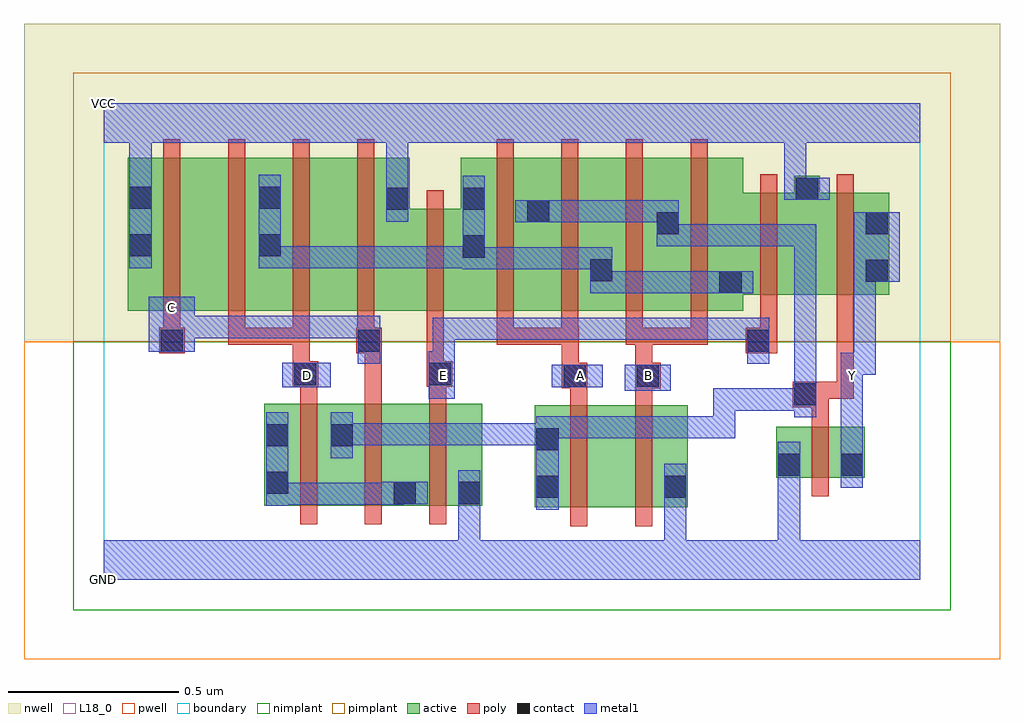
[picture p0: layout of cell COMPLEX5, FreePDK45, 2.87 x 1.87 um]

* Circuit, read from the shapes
.subckt COMPLEX5 A B C D E GND VCC Y
M1 n1 D n2 VSUBS nfet w=0.3u l=0.05u
M2 n2 C n1 VSUBS nfet w=0.3u l=0.05u
M3 GND E n2 VSUBS nfet w=0.3u l=0.05u
M4 n3 A n1 VSUBS nfet w=0.3u l=0.05u
M5 GND B n3 VSUBS nfet w=0.3u l=0.05u
M6 Y n1 GND VSUBS nfet w=0.15u l=0.05u
M7 n4 C VCC n5 pfet w=0.45u l=0.05u
M8 n6 D n4 n5 pfet w=0.45u l=0.05u
M9 n7 D n6 n5 pfet w=0.45u l=0.05u
M10 VCC C n7 n5 pfet w=0.45u l=0.05u
M11 n6 E VCC n5 pfet w=0.3u l=0.05u m=2
M12 n1 A n6 n5 pfet w=0.45u l=0.05u m=2
M13 n1 B n6 n5 pfet w=0.45u l=0.05u m=2
M14 Y n1 VCC n5 pfet w=0.3u l=0.05u
.ends

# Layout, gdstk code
import gdstk
lib = gdstk.Library(unit=1e-6, precision=1e-09)
def R(c, l, rs):  # rectangles x0, y0, x1, y1
    for r in rs: c.add(gdstk.rectangle(r[:2], r[2:], *l))
def A(c, l, x, y, w, h, nx, ny, dx, dy):  # array of equal rectangles
    R(c, l, [(x+i*dx, y+j*dy, x+i*dx+w, y+j*dy+h) for i in range(nx) for j in range(ny)])
active = (1, 0)
pwell = (2, 0)
nwell = (3, 0)
nimplant = (4, 0)
pimplant = (5, 0)
poly = (9, 0)
contact = (10, 0)
metal1 = (11, 0)
L18_0 = (18, 0)
boundary = (235, 0)

complex5 = lib.new_cell('COMPLEX5')
R(complex5, active, [(1.267,0.212,1.492,0.512), (1.267,0.212,1.342,0.512), (1.492,0.212,1.717,0.512), (0.472,0.217,0.547,0.517), (0.472,0.217,0.737,0.517), (0.662,0.217,0.922,0.517), (0.847,0.217,1.112,0.517), (0.847,0.217,0.922,0.392), (1.037,0.217,1.112,0.517), (1.642,0.235,1.717,0.377), (1.977,0.3,2.052,0.45), (1.977,0.3,2.237,0.45), (2.162,0.3,2.237,0.45), (0.662,0.33,0.737,0.462), (0.07,0.79,0.295,1.24), (0.07,0.79,0.145,1.205), (0.295,0.79,0.525,1.24), (0.45,0.79,0.675,1.24), (0.675,0.79,0.9,1.24), (0.825,0.79,1.125,1.09), (1.05,0.79,1.315,1.24), (1.05,0.79,1.125,1.2), (1.24,0.79,1.5,1.24), (1.425,0.79,1.695,1.24), (1.62,0.79,1.88,1.24), (1.24,0.832,1.315,1.2), (1.62,0.832,1.695,1.2), (1.805,0.837,2.105,1.137), (1.805,0.837,1.88,1.07), (2.03,0.837,2.31,1.137), (2.235,0.837,2.31,1.085), (0.45,0.857,0.525,1.2), (1.425,0.857,1.5,1.07), (0.825,1.007,0.9,1.157), (2.03,1.007,2.105,1.187)])
R(complex5, pwell, [(-0.235,-0.235,2.635,0.7)])
R(complex5, nwell, [(-0.235,0.7,2.635,1.635)])
R(complex5, nimplant, [(-0.09,-0.09,2.49,0.7)])
R(complex5, pimplant, [(-0.09,0.7,2.49,1.49)])
A(complex5, poly, 0.577, 0.162, 0.05, 0.41, 3, 1, 0.19, 0)
A(complex5, poly, 0.175, 0.69, 0.05, 0.095, 4, 1, 0.19, 0)
A(complex5, poly, 1.155, 0.69, 0.05, 0.095, 4, 1, 0.19, 0)
A(complex5, poly, 0.175, 0.735, 0.05, 0.56, 4, 1, 0.19, 0)
A(complex5, poly, 1.155, 0.735, 0.05, 0.56, 4, 1, 0.19, 0)
R(complex5, poly, [(1.372,0.157,1.422,0.567), (1.562,0.157,1.612,0.567), (2.082,0.245,2.132,0.505), (2.082,0.455,2.132,0.557), (2.025,0.507,2.132,0.582), (1.372,0.517,1.422,0.612), (1.562,0.517,1.612,0.612), (0.577,0.522,0.627,0.617), (0.767,0.522,0.817,0.715), (0.957,0.522,1.007,0.617), (2.082,0.532,2.132,0.582), (2.082,0.532,2.205,0.582), (2.155,0.532,2.205,0.832), (1.347,0.562,1.422,0.637), (1.562,0.562,1.637,0.637), (0.555,0.567,0.63,0.642), (0.95,0.567,1.025,0.642), (0.957,0.567,1.007,0.617), (0.957,0.567,1.007,0.617), (1.347,0.587,1.397,0.74), (1.562,0.587,1.612,0.74), (0.555,0.592,0.605,0.74), (0.95,0.592,1,0.785), (0.162,0.665,0.237,0.74), (0.742,0.665,0.817,0.74), (0.767,0.665,0.817,0.715), (0.767,0.665,0.817,0.715), (1.887,0.665,1.98,0.74), (0.365,0.69,0.415,0.74), (0.365,0.69,0.605,0.74), (0.555,0.69,0.605,0.74), (0.555,0.69,0.605,0.74), (0.555,0.69,0.605,0.74), (1.155,0.69,1.205,0.74), (1.155,0.69,1.395,0.74), (1.345,0.69,1.395,0.74), (1.345,0.69,1.395,0.74), (1.345,0.69,1.397,0.74), (1.535,0.69,1.612,0.74), (1.562,0.69,1.612,0.74), (1.562,0.69,1.612,0.74), (1.562,0.69,1.775,0.74), (1.725,0.69,1.775,0.74), (1.93,0.69,1.98,0.832), (0.95,0.735,1,1.145), (1.93,0.782,1.98,1.192), (2.155,0.782,2.205,1.192)])
R(complex5, contact, [(0.852,0.222,0.917,0.287), (1.042,0.222,1.107,0.287), (1.272,0.24,1.337,0.305), (1.647,0.24,1.712,0.305), (0.477,0.252,0.542,0.317), (1.982,0.305,2.047,0.37), (2.167,0.305,2.232,0.37), (1.272,0.38,1.337,0.445), (0.477,0.392,0.542,0.457), (0.667,0.392,0.732,0.457), (2.03,0.512,2.095,0.577), (1.352,0.567,1.417,0.632), (1.567,0.567,1.632,0.632), (0.56,0.572,0.625,0.637), (0.955,0.572,1.02,0.637), (0.167,0.67,0.232,0.735), (0.747,0.67,0.812,0.735), (1.892,0.67,1.957,0.735), (1.81,0.842,1.875,0.907), (2.24,0.875,2.305,0.94), (1.43,0.877,1.495,0.942), (1.055,0.947,1.12,1.012), (0.075,0.95,0.14,1.015), (0.455,0.95,0.52,1.015), (1.625,1.015,1.69,1.08), (2.24,1.015,2.305,1.08), (1.245,1.05,1.31,1.115), (0.83,1.087,0.895,1.152), (1.055,1.087,1.12,1.152), (0.075,1.09,0.14,1.155), (0.455,1.09,0.52,1.155), (2.035,1.117,2.1,1.182)])
A(complex5, metal1, 0.667, 0.395, 0.065, 0.065, 3, 1, 0.15, 0)
R(complex5, metal1, [(0,0,2.4,0.115), (1.042,0.05,1.107,0.115), (1.042,0.05,1.107,0.115), (1.042,0.05,1.107,0.252), (1.647,0.05,1.712,0.27), (1.982,0.05,2.047,0.115), (1.982,0.05,2.047,0.115), (1.982,0.05,2.047,0.115), (1.982,0.05,2.047,0.115), (1.982,0.05,2.047,0.335), (1.042,0.187,1.107,0.322), (1.272,0.205,1.337,0.48), (1.647,0.205,1.712,0.27), (1.647,0.205,1.712,0.27), (1.647,0.205,1.712,0.34), (0.477,0.217,0.542,0.492), (0.477,0.22,0.542,0.285), (0.477,0.22,0.542,0.285), (0.477,0.22,0.745,0.285), (0.68,0.22,0.745,0.285), (0.68,0.22,0.882,0.285), (0.817,0.22,0.882,0.287), (0.817,0.222,0.882,0.287), (0.817,0.222,0.952,0.287), (1.982,0.27,2.047,0.405), (2.167,0.27,2.232,0.405), (2.167,0.34,2.232,0.597), (0.667,0.357,0.732,0.492), (0.667,0.395,0.732,0.46), (0.667,0.395,0.882,0.46), (0.817,0.395,1.032,0.46), (0.967,0.395,1.032,0.46), (0.967,0.395,1.032,0.46), (0.967,0.395,1.17,0.46), (1.105,0.395,1.17,0.46), (1.105,0.395,1.337,0.46), (1.272,0.415,1.337,0.48), (1.272,0.415,1.337,0.48), (1.272,0.415,1.552,0.48), (1.487,0.415,1.552,0.48), (1.487,0.415,1.552,0.48), (1.487,0.415,1.552,0.48), (1.487,0.415,1.702,0.48), (1.637,0.415,1.702,0.48), (1.637,0.415,1.702,0.48), (1.637,0.415,1.702,0.48), (1.637,0.415,1.857,0.48), (1.792,0.415,1.857,0.48), (1.792,0.415,1.857,0.562), (2.03,0.477,2.095,0.612), (1.792,0.497,1.857,0.562), (1.792,0.497,1.857,0.562), (1.792,0.497,1.857,0.562), (1.792,0.497,2.095,0.562), (2.03,0.497,2.095,0.562), (2.03,0.497,2.095,0.562), (2.03,0.497,2.095,0.562), (2.03,0.497,2.095,0.562), (2.03,0.497,2.095,1.045), (0.955,0.532,1.032,0.672), (2.167,0.532,2.232,0.667), (1.532,0.555,1.667,0.632), (0.525,0.565,0.667,0.637), (1.317,0.565,1.467,0.632), (2.167,0.602,2.232,0.667), (2.167,0.602,2.27,0.667), (2.205,0.602,2.27,0.94), (0.967,0.607,1.032,0.672), (0.967,0.607,1.032,0.77), (0.747,0.635,0.812,0.775), (1.892,0.635,1.957,0.77), (0.132,0.67,0.267,0.832), (0.967,0.705,1.17,0.77), (1.105,0.705,1.17,0.77), (1.105,0.705,1.307,0.77), (1.242,0.705,1.307,0.77), (1.242,0.705,1.307,0.77), (1.242,0.705,1.307,0.77), (1.242,0.705,1.552,0.77), (1.487,0.705,1.552,0.77), (1.487,0.705,1.552,0.77), (1.487,0.705,1.552,0.77), (1.487,0.705,1.69,0.77), (1.625,0.705,1.69,0.77), (1.625,0.705,1.69,0.77), (1.625,0.705,1.69,0.77), (1.625,0.705,1.91,0.77), (1.845,0.705,1.91,0.77), (1.845,0.705,1.957,0.77), (0.202,0.71,0.267,0.775), (0.202,0.71,0.267,0.775), (0.202,0.71,0.405,0.775), (0.34,0.71,0.405,0.775), (0.34,0.71,0.405,0.775), (0.34,0.71,0.405,0.775), (0.34,0.71,0.595,0.775), (0.53,0.71,0.595,0.775), (0.53,0.71,0.68,0.775), (0.615,0.71,0.68,0.775), (0.615,0.71,0.812,0.775), (1.43,0.842,1.495,0.907), (1.43,0.842,1.495,0.907), (1.43,0.842,1.495,0.977), (1.43,0.842,1.69,0.907), (1.625,0.842,1.69,0.907), (1.625,0.842,1.69,0.907), (1.625,0.842,1.69,0.907), (1.625,0.842,1.84,0.907), (1.775,0.842,1.91,0.907), (2.205,0.875,2.34,1.08), (1.055,0.912,1.12,1.187), (1.055,0.912,1.17,0.977), (1.105,0.912,1.17,0.977), (1.105,0.912,1.307,0.977), (1.242,0.912,1.307,0.977), (1.242,0.912,1.307,0.977), (1.242,0.912,1.307,0.977), (1.242,0.912,1.495,0.977), (0.075,0.915,0.14,1.19), (0.455,0.915,0.52,1.19), (0.455,0.915,0.542,0.98), (0.477,0.915,0.542,0.98), (0.477,0.915,0.745,0.98), (0.68,0.915,0.745,0.98), (0.68,0.915,0.745,0.98), (0.68,0.915,0.745,0.98), (0.68,0.915,0.895,0.98), (0.83,0.915,0.895,0.98), (0.83,0.915,1.02,0.98), (0.955,0.915,1.02,0.98), (0.955,0.915,1.12,0.98), (1.625,0.98,1.69,1.045), (1.625,0.98,1.69,1.045), (1.625,0.98,1.69,1.115), (1.625,0.98,1.91,1.045), (1.845,0.98,1.91,1.045), (1.845,0.98,1.91,1.045), (1.845,0.98,1.91,1.045), (1.845,0.98,2.095,1.045), (2.03,0.98,2.095,1.045), (2.03,0.98,2.095,1.045), (2.03,0.98,2.095,1.045), (1.21,1.05,1.345,1.115), (1.28,1.05,1.345,1.115), (1.28,1.05,1.345,1.115), (1.28,1.05,1.552,1.115), (1.487,1.05,1.552,1.115), (1.487,1.05,1.552,1.115), (1.487,1.05,1.552,1.115), (1.487,1.05,1.69,1.115), (0.83,1.052,0.895,1.187), (2,1.117,2.065,1.182), (2,1.117,2.065,1.182), (2,1.117,2.065,1.35), (2,1.117,2.135,1.182), (0.83,1.122,0.895,1.35), (0.075,1.125,0.14,1.35), (0,1.285,2.4,1.4)])
A(complex5, L18_0, 0.567, 0.567, 0.065, 0.065, 3, 1, 0.4, 0)
R(complex5, L18_0, [(0,0,2.4,0.115), (1.042,0.05,1.107,0.115), (1.042,0.05,1.107,0.115), (1.042,0.05,1.107,0.252), (1.647,0.05,1.712,0.27), (1.982,0.05,2.047,0.115), (1.982,0.05,2.047,0.115), (1.982,0.05,2.047,0.115), (1.982,0.05,2.047,0.115), (1.982,0.05,2.047,0.335), (1.042,0.187,1.107,0.322), (1.647,0.205,1.712,0.27), (1.647,0.205,1.712,0.27), (1.647,0.205,1.712,0.34), (1.982,0.27,2.047,0.405), (2.167,0.27,2.232,0.405), (2.167,0.34,2.232,0.597), (0.955,0.532,1.032,0.672), (2.167,0.532,2.232,0.667), (1.532,0.555,1.667,0.632), (0.525,0.565,0.667,0.637), (1.317,0.565,1.467,0.632), (1.567,0.567,1.632,0.632), (2.167,0.567,2.232,0.632), (2.167,0.602,2.232,0.667), (2.167,0.602,2.27,0.667), (2.205,0.602,2.27,0.94), (0.967,0.607,1.032,0.672), (0.967,0.607,1.032,0.77), (0.747,0.635,0.812,0.775), (1.892,0.635,1.957,0.77), (0.132,0.67,0.267,0.832), (0.967,0.705,1.17,0.77), (1.105,0.705,1.17,0.77), (1.105,0.705,1.307,0.77), (1.242,0.705,1.307,0.77), (1.242,0.705,1.307,0.77), (1.242,0.705,1.307,0.77), (1.242,0.705,1.552,0.77), (1.487,0.705,1.552,0.77), (1.487,0.705,1.552,0.77), (1.487,0.705,1.552,0.77), (1.487,0.705,1.69,0.77), (1.625,0.705,1.69,0.77), (1.625,0.705,1.69,0.77), (1.625,0.705,1.69,0.77), (1.625,0.705,1.91,0.77), (1.845,0.705,1.91,0.77), (1.845,0.705,1.957,0.77), (0.202,0.71,0.267,0.775), (0.202,0.71,0.267,0.775), (0.202,0.71,0.405,0.775), (0.34,0.71,0.405,0.775), (0.34,0.71,0.405,0.775), (0.34,0.71,0.405,0.775), (0.34,0.71,0.595,0.775), (0.53,0.71,0.595,0.775), (0.53,0.71,0.68,0.775), (0.615,0.71,0.68,0.775), (0.615,0.71,0.812,0.775), (0.167,0.767,0.232,0.832), (2.205,0.875,2.34,1.08), (0.075,0.915,0.14,1.19), (0.83,1.052,0.895,1.187), (2,1.117,2.065,1.182), (2,1.117,2.065,1.182), (2,1.117,2.135,1.182), (2,1.117,2.065,1.35), (0.83,1.122,0.895,1.35), (0.075,1.125,0.14,1.35), (0,1.285,2.4,1.4)])
R(complex5, boundary, [(0,0,2.4,1.4)])
complex5.add(gdstk.Label('A', (1.4,0.6), layer=11, texttype=0))
complex5.add(gdstk.Label('B', (1.6,0.6), layer=11, texttype=0))
complex5.add(gdstk.Label('C', (0.2,0.8), layer=11, texttype=0))
complex5.add(gdstk.Label('D', (0.6,0.6), layer=11, texttype=0))
complex5.add(gdstk.Label('E', (1,0.6), layer=11, texttype=0))
complex5.add(gdstk.Label('Y', (2.2,0.6), layer=11, texttype=0))
complex5.add(gdstk.Label('VCC', (0,1.4), layer=11, texttype=0))
complex5.add(gdstk.Label('GND', (0,0), layer=11, texttype=0))

lib.write_gds('COMPLEX5.gds')
